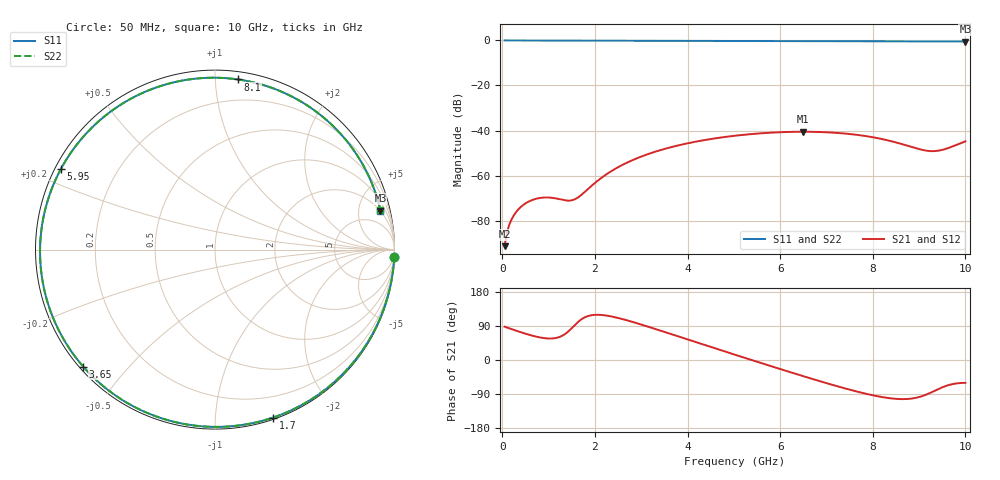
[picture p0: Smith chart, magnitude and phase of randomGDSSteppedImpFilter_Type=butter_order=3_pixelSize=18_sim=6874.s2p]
! freq	dB(S11)	phase(S11)	dB(S12)	phase(S12)
!  dB(S21)	phase(S21)	dB(S22)	phase(S22)
!S-par simulation data
#  GHz  S  DB  R 50
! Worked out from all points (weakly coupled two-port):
!   200 points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, 50 MHz to 10 GHz, reference 50 ohm
!   highest |S21| = -40.55 dB at 6.5 GHz (marker M1); lowest = -91.4 dB at 50 MHz (marker M2)
!   lowest |S11| = -0.5 dB at 10 GHz (marker M3), VSWR 36.84, Z = 96.1 + j407 ohm
!   |S11| at or under -10 dB: nowhere
!   |S22| runs from -0.5 to 0.0 dB; largest |S21 - S12| = 0
!   S11 on the Smith chart (normalised r, x): 50 MHz: 0, -52; 1.7 GHz: 0.01, -1.40; 3.65 GHz: 0.01, -0.38; 5.95 GHz: 0.02, +0.25; 8.1 GHz: 0.05, +1.14; 10 GHz: 1.92, +8.13
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0.05  -0.00 -2.2  -91.38 87.9  -91.38 87.9  -0.00 -2.2
0.2  -0.01 -8.8  -79.48 81.5  -79.48 81.5  -0.01 -8.8
0.4  -0.03 -17.4  -73.95 73.3  -73.95 73.3  -0.03 -17.4
0.7  -0.04 -30.3  -70.50 62.6  -70.50 62.6  -0.04 -30.3
1  -0.05 -42.9  -69.77 56.7  -69.77 56.7  -0.05 -42.9
1.45  -0.08 -61.2  -71.15 78.1  -71.15 78.1  -0.08 -61.2
1.7  -0.09 -71.0  -68.72 106.6  -68.72 106.6  -0.09 -71.0
1.75  -0.09 -72.9  -67.85 110.5  -67.85 110.5  -0.09 -72.9
2.45  -0.12 -98.6  -56.88 112.4  -56.88 112.4  -0.12 -98.6
3.4  -0.15 -130.5  -48.80 78.1  -48.80 78.1  -0.15 -130.4
3.65  -0.16 -138.4  -47.37 68.2  -47.37 68.2  -0.16 -138.4
4.35  -0.19 -159.8  -44.31 40.4  -44.31 40.4  -0.19 -159.8
5.05  -0.22 179.3  -42.26 12.9  -42.26 12.9  -0.22 179.3
5.95  -0.27 152.3  -40.81 -21.9  -40.81 -21.9  -0.27 152.3
6.5  -0.31 135.3  -40.55 -42.7  -40.55 -42.7  -0.31 135.3
6.7  -0.32 129.0  -40.59 -50.2  -40.59 -50.2  -0.32 129.0
7.45  -0.36 104.5  -41.45 -76.6  -41.45 -76.6  -0.36 104.6
8.1  -0.39 82.2  -43.38 -95.6  -43.38 -95.6  -0.39 82.2
8.35  -0.40 73.4  -44.50 -100.6  -44.50 -100.6  -0.40 73.4
8.8  -0.41 57.2  -47.09 -102.3  -47.09 -102.3  -0.41 57.2
9.3  -0.43 38.9  -49.16 -83.4  -49.16 -83.4  -0.43 38.9
10  -0.47 13.3  -44.81 -60.3  -44.81 -60.3  -0.47 13.3
